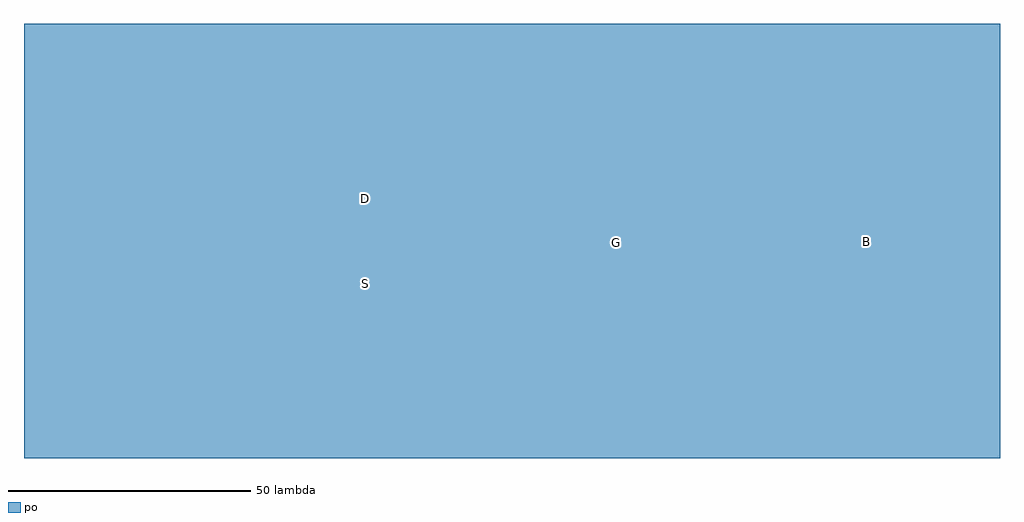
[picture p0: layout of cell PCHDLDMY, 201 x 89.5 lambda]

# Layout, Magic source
magic
tech tech
magscale 1 2
<< po >>
rect 275 -9 327 9
rect 69 9 120 26
rect 73 13 81 21
rect 108 13 116 21
rect 275 9 327 26
rect 297 13 305 21
rect 69 26 120 43
rect 275 26 327 43
rect 69 43 120 60
rect 73 48 81 56
rect 108 48 116 56
rect 275 43 327 60
rect 297 48 305 56
rect 275 60 327 77
rect 17 -3 224 3
rect 17 31 172 37
rect 172 28 224 40
rect 172 28 224 40
rect 177 30 185 38
rect 211 30 219 38
rect 17 66 224 72
rect 275 -9 327 9
rect 69 11 120 23
rect 69 11 120 23
rect 275 9 327 26
rect 172 28 224 40
rect 275 26 327 43
rect 275 26 327 43
rect 69 46 120 58
rect 69 46 120 58
rect 275 43 327 60
rect 275 60 327 77
rect -20 -45 330 113
rect -46 -55 253 124
rect 229 -55 356 124
<< labels >>
flabel po s 172 28 224 40 0 FreeSans 400 0 0 0 G
port 2 nsew signal bidirectional
flabel po s 69 11 120 23 0 FreeSans 400 0 0 0 S
port 3 nsew signal bidirectional
flabel po s 275 26 327 43 0 FreeSans 400 0 0 0 B
port 4 nsew signal bidirectional
flabel po s 69 46 120 58 0 FreeSans 400 0 0 0 D
port 1 nsew signal bidirectional
<< properties >>
string FIXED_BBOX 0 0 301 69
<< end >>
